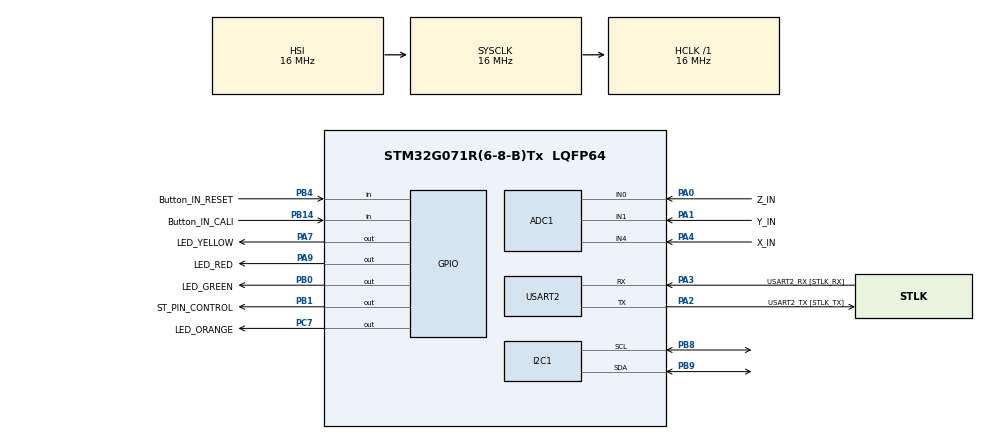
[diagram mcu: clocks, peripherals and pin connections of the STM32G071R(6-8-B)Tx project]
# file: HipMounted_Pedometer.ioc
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ADC1.Channel-0\#ChannelRegularConversion=ADC_CHANNEL_4
ADC1.Channel-1\#ChannelRegularConversion=ADC_CHANNEL_1
ADC1.Channel-2\#ChannelRegularConversion=ADC_CHANNEL_0
ADC1.EOCSelection=ADC_EOC_SEQ_CONV
ADC1.NbrOfConversion=3
ADC1.NbrOfConversionFlag=1
ADC1.Rank-0\#ChannelRegularConversion=1
ADC1.Rank-1\#ChannelRegularConversion=2
ADC1.Rank-2\#ChannelRegularConversion=3
ADC1.SamplingTime-0\#ChannelRegularConversion=ADC_SAMPLINGTIME_COMMON_1
ADC1.SamplingTime-1\#ChannelRegularConversion=ADC_SAMPLINGTIME_COMMON_1
ADC1.SamplingTime-2\#ChannelRegularConversion=ADC_SAMPLINGTIME_COMMON_1
ADC1.SelectedChannel=ADC_CHANNEL_0|ADC_CHANNEL_1|ADC_CHANNEL_4
ADC1.master=1
Dma.ADC1.0.Direction=DMA_PERIPH_TO_MEMORY
Dma.ADC1.0.EventEnable=DISABLE
Dma.ADC1.0.Instance=DMA1_Channel1
Dma.ADC1.0.MemDataAlignment=DMA_MDATAALIGN_HALFWORD
Dma.ADC1.0.MemInc=DMA_MINC_ENABLE
Dma.ADC1.0.Mode=DMA_NORMAL
Dma.ADC1.0.PeriphDataAlignment=DMA_PDATAALIGN_HALFWORD
Dma.ADC1.0.PeriphInc=DMA_PINC_DISABLE
Dma.ADC1.0.Polarity=HAL_DMAMUX_REQ_GEN_RISING
Dma.ADC1.0.Priority=DMA_PRIORITY_LOW
Dma.ADC1.0.RequestNumber=1
Dma.ADC1.0.SignalID=NONE
Dma.ADC1.0.SyncEnable=DISABLE
Dma.ADC1.0.SyncPolarity=HAL_DMAMUX_SYNC_NO_EVENT
Dma.ADC1.0.SyncRequestNumber=1
Dma.ADC1.0.SyncSignalID=NONE
Dma.Request0=ADC1
I2C1.Timing=0x00503D58
Mcu.Family=STM32G0
Mcu.Name=STM32G071R(6-8-B)Tx
Mcu.Package=LQFP64
NVIC.DMA1_Channel1_IRQn=true\:0\:0\:false\:false\:true\:false\:true\:true
PA0.GPIO_Label=Z_IN
PA0.Mode=IN0
PA0.Signal=ADC1_IN0
PA1.GPIO_Label=Y_IN
PA1.Mode=IN1
PA1.Signal=ADC1_IN1
PA13.GPIO_Label=TMS
PA13.Mode=Serial_Wire
PA13.Signal=SYS_SWDIO
PA14-BOOT0.GPIO_Label=TCK
PA14-BOOT0.Mode=Serial_Wire
PA14-BOOT0.Signal=SYS_SWCLK
PA2.GPIO_Label=USART2_TX [STLK_TX]
PA2.GPIO_PuPd=GPIO_PULLUP
PA2.Mode=Asynchronous
PA2.Signal=USART2_TX
PA3.GPIO_Label=USART2_RX [STLK_RX]
PA3.GPIO_PuPd=GPIO_PULLUP
PA3.Mode=Asynchronous
PA3.Signal=USART2_RX
PA4.GPIO_Label=X_IN
PA4.Mode=IN4
PA4.Signal=ADC1_IN4
PA7.GPIO_Label=LED_YELLOW
PA7.Signal=GPIO_Output
PA9.GPIO_Label=LED_RED
PA9.Signal=GPIO_Output
PB0.GPIO_Label=LED_GREEN
PB0.Signal=GPIO_Output
PB1.GPIO_Label=ST_PIN_CONTROL
PB1.Signal=GPIO_Output
PB14.GPIO_Label=Button_IN_CALI
PB14.GPIO_PuPd=GPIO_PULLUP
PB14.Signal=GPIO_Input
PB4.GPIO_Label=Button_IN_RESET
PB4.GPIO_PuPd=GPIO_PULLUP
PB4.Signal=GPIO_Input
PB8.Mode=I2C
PB8.Signal=I2C1_SCL
PB9.Mode=I2C
PB9.Signal=I2C1_SDA
PC13.Mode=SYS_WakeUp1
PC13.Signal=SYS_WKUP2
PC14-OSC32_IN\ (PC14).Mode=LSE-External-Oscillator
PC14-OSC32_IN\ (PC14).Signal=RCC_OSC32_IN
PC15-OSC32_OUT\ (PC15).Mode=LSE-External-Oscillator
PC15-OSC32_OUT\ (PC15).Signal=RCC_OSC32_OUT
PC7.GPIO_Label=LED_ORANGE
PC7.Signal=GPIO_Output
PF0-OSC_IN\ (PF0).GPIO_Label=MCO
PF0-OSC_IN\ (PF0).Mode=HSE-External-Clock-Source
PF0-OSC_IN\ (PF0).Signal=RCC_OSC_IN
ProjectManager.HeapSize=0x200
ProjectManager.StackSize=0x400
ProjectManager.TargetToolchain=STM32CubeIDE
RCC.AHBFreq_Value=16000000
RCC.CortexFreq_Value=16000000
RCC.EXTERNAL_CLOCK_VALUE=12288000
RCC.HCLKFreq_Value=16000000
RCC.HSE_VALUE=8000000
RCC.HSI_VALUE=16000000
RCC.SYSCLKFreq_VALUE=16000000
RCC.VCOOutputFreq_Value=128000000
USART2.VirtualMode-Asynchronous=VM_ASYNC
board=NUCLEO-G071RB

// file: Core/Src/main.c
/* USER CODE BEGIN Header */
/**
  ******************************************************************************
  * @file           : main.c
  * @brief          : Main program body
  ******************************************************************************
  * @attention
  *
  * Copyright (c) 2026 STMicroelectronics.
  * All rights reserved.
  *
  * This software is licensed under terms that can be found in the LICENSE file
  * in the root directory of this software component.
  * If no LICENSE file comes with this software, it is provided AS-IS.
  *
  ******************************************************************************
  */
/* USER CODE END Header */
#include "main.h"

/* USER CODE BEGIN Includes */
#include <test_components.h>
#include "main.h"
#include "step_counting.h"
#include <inttypes.h>

/* USER CODE END Includes */

ADC_HandleTypeDef hadc1;
DMA_HandleTypeDef hdma_adc1;

I2C_HandleTypeDef hi2c1;

UART_HandleTypeDef huart2;

/* USER CODE BEGIN PV */
uint16_t ADC_VAL[3] = {0,0,0}; // Store raw X, Y and Z values in a array
float adjVal[2][3] = { // Stores the calibration values
		{-0.04, -0.06, -0.12},
		{0, 0, 0}
};

volatile ADXL335_t RAW_SAMPLE = {0};
ADXL335_t CALIB_SAMPLE = {0};
ADXL335_t SAMPLE_BUFFER[NUM_SAMPLES] = {0};

volatile uint32_t stepCount = 0; // Stores the count of steps
volatile uint32_t indexVal = 0;
volatile uint32_t lastValuesTime = 0;
/* USER CODE END PV */

void SystemClock_Config(void);
static void MX_GPIO_Init(void);
static void MX_DMA_Init(void);
static void MX_USART2_UART_Init(void);
static void MX_ADC1_Init(void);
static void MX_I2C1_Init(void);

int main(void)
{

  /* MCU Configuration--------------------------------------------------------*/

  /* Reset of all peripherals, Initializes the Flash interface and the Systick. */
  HAL_Init();

  /* Configure the system clock */
  SystemClock_Config();

  /* Initialize all configured peripherals */
  MX_GPIO_Init();
  MX_DMA_Init();
  MX_USART2_UART_Init();
  MX_ADC1_Init();
  MX_I2C1_Init();
  /* USER CODE BEGIN 2 */
  ssd1306_Init();
  HAL_ADCEx_Calibration_Start(&hadc1);
  ST_Protocol(); // Checks if ADXL is working properly
  DEFAULT_DISPLAY();
  HAL_GPIO_WritePin(LED_GREEN_GPIO_Port, LED_GREEN_Pin, SET); // Stationary LED
  /* USER CODE END 2 */

  /* Infinite loop */
  /* USER CODE BEGIN WHILE */
  while (1)
  {

	  /* Real Software */
	  DEFAULT_DISPLAY();
	  if (HAL_GetTick()- lastValuesTime >= 58) {
	  	  lastValuesTime = HAL_GetTick();
	  	  getValues(); // Gets the x,y and z values
	  }
	  trackGaitPhase(); // Count steps
	  walkingPace(); // Determines Walking pace

	  if (HAL_GPIO_ReadPin(Button_IN_CALI_GPIO_Port, Button_IN_CALI_Pin)==GPIO_PIN_RESET) {// Calibrates direction when button is pressed
	  	  calibration();
	  }

	  if (HAL_GPIO_ReadPin(Button_IN_RESET_GPIO_Port, Button_IN_RESET_Pin) == GPIO_PIN_RESET) {// Resets Counter when reset button is pressed
		  stepCount = 0;
		  distanceTravelled = 0;
	  }

	  // Calculates the distance travelled

    /* USER CODE END WHILE */

  }
}

void SystemClock_Config(void)
{
  RCC_OscInitTypeDef RCC_OscInitStruct = {0};
  RCC_ClkInitTypeDef RCC_ClkInitStruct = {0};

  /** Configure the main internal regulator output voltage
  */
  HAL_PWREx_ControlVoltageScaling(PWR_REGULATOR_VOLTAGE_SCALE1);

  /** Initializes the RCC Oscillators according to the specified parameters
  * in the RCC_OscInitTypeDef structure.
  */
  RCC_OscInitStruct.OscillatorType = RCC_OSCILLATORTYPE_HSI;
  RCC_OscInitStruct.HSIState = RCC_HSI_ON;
  RCC_OscInitStruct.HSIDiv = RCC_HSI_DIV1;
  RCC_OscInitStruct.HSICalibrationValue = RCC_HSICALIBRATION_DEFAULT;
  RCC_OscInitStruct.PLL.PLLState = RCC_PLL_NONE;
  if (HAL_RCC_OscConfig(&RCC_OscInitStruct) != HAL_OK)
  {
    Error_Handler();
  }

  /** Initializes the CPU, AHB and APB buses clocks
  */
  RCC_ClkInitStruct.ClockType = RCC_CLOCKTYPE_HCLK|RCC_CLOCKTYPE_SYSCLK
                              |RCC_CLOCKTYPE_PCLK1;
  RCC_ClkInitStruct.SYSCLKSource = RCC_SYSCLKSOURCE_HSI;
  RCC_ClkInitStruct.AHBCLKDivider = RCC_SYSCLK_DIV1;
  RCC_ClkInitStruct.APB1CLKDivider = RCC_HCLK_DIV1;

  if (HAL_RCC_ClockConfig(&RCC_ClkInitStruct, FLASH_LATENCY_0) != HAL_OK)
  {
    Error_Handler();
  }
}

static void MX_ADC1_Init(void)
{

  ADC_ChannelConfTypeDef sConfig = {0};

  /** Configure the global features of the ADC (Clock, Resolution, Data Alignment and number of conversion)
  */
  hadc1.Instance = ADC1;
  hadc1.Init.ClockPrescaler = ADC_CLOCK_SYNC_PCLK_DIV2;
  hadc1.Init.Resolution = ADC_RESOLUTION_12B;
  hadc1.Init.DataAlign = ADC_DATAALIGN_RIGHT;
  hadc1.Init.ScanConvMode = ADC_SCAN_ENABLE;
  hadc1.Init.EOCSelection = ADC_EOC_SEQ_CONV;
  hadc1.Init.LowPowerAutoWait = DISABLE;
  hadc1.Init.LowPowerAutoPowerOff = DISABLE;
  hadc1.Init.ContinuousConvMode = DISABLE;
  hadc1.Init.NbrOfConversion = 3;
  hadc1.Init.DiscontinuousConvMode = DISABLE;
  hadc1.Init.ExternalTrigConv = ADC_SOFTWARE_START;
  hadc1.Init.ExternalTrigConvEdge = ADC_EXTERNALTRIGCONVEDGE_NONE;
  hadc1.Init.DMAContinuousRequests = DISABLE;
  hadc1.Init.Overrun = ADC_OVR_DATA_PRESERVED;
  hadc1.Init.SamplingTimeCommon1 = ADC_SAMPLETIME_1CYCLE_5;
  hadc1.Init.SamplingTimeCommon2 = ADC_SAMPLETIME_1CYCLE_5;
  hadc1.Init.OversamplingMode = DISABLE;
  hadc1.Init.TriggerFrequencyMode = ADC_TRIGGER_FREQ_HIGH;
  if (HAL_ADC_Init(&hadc1) != HAL_OK)
  {
    Error_Handler();
  }

  /** Configure Regular Channel
  */
  sConfig.Channel = ADC_CHANNEL_4;
  sConfig.Rank = ADC_REGULAR_RANK_1;
  sConfig.SamplingTime = ADC_SAMPLINGTIME_COMMON_1;
  if (HAL_ADC_ConfigChannel(&hadc1, &sConfig) != HAL_OK)
  {
    Error_Handler();
  }

  /** Configure Regular Channel
  */
  sConfig.Channel = ADC_CHANNEL_1;
  sConfig.Rank = ADC_REGULAR_RANK_2;
  if (HAL_ADC_ConfigChannel(&hadc1, &sConfig) != HAL_OK)
  {
    Error_Handler();
  }

  /** Configure Regular Channel
  */
  sConfig.Channel = ADC_CHANNEL_0;
  sConfig.Rank = ADC_REGULAR_RANK_3;
  if (HAL_ADC_ConfigChannel(&hadc1, &sConfig) != HAL_OK)
  {
    Error_Handler();
  }

}

static void MX_I2C1_Init(void)
{

  hi2c1.Instance = I2C1;
  hi2c1.Init.Timing = 0x00503D58;
  hi2c1.Init.OwnAddress1 = 0;
  hi2c1.Init.AddressingMode = I2C_ADDRESSINGMODE_7BIT;
  hi2c1.Init.DualAddressMode = I2C_DUALADDRESS_DISABLE;
  hi2c1.Init.OwnAddress2 = 0;
  hi2c1.Init.OwnAddress2Masks = I2C_OA2_NOMASK;
  hi2c1.Init.GeneralCallMode = I2C_GENERALCALL_DISABLE;
  hi2c1.Init.NoStretchMode = I2C_NOSTRETCH_DISABLE;
  if (HAL_I2C_Init(&hi2c1) != HAL_OK)
  {
    Error_Handler();
  }

  /** Configure Analogue filter
  */
  if (HAL_I2CEx_ConfigAnalogFilter(&hi2c1, I2C_ANALOGFILTER_ENABLE) != HAL_OK)
  {
    Error_Handler();
  }

  /** Configure Digital filter
  */
  if (HAL_I2CEx_ConfigDigitalFilter(&hi2c1, 0) != HAL_OK)
  {
    Error_Handler();
  }

}

static void MX_USART2_UART_Init(void)
{

  huart2.Instance = USART2;
  huart2.Init.BaudRate = 115200;
  huart2.Init.WordLength = UART_WORDLENGTH_8B;
  huart2.Init.StopBits = UART_STOPBITS_1;
  huart2.Init.Parity = UART_PARITY_NONE;
  huart2.Init.Mode = UART_MODE_TX_RX;
  huart2.Init.HwFlowCtl = UART_HWCONTROL_NONE;
  huart2.Init.OverSampling = UART_OVERSAMPLING_16;
  huart2.Init.OneBitSampling = UART_ONE_BIT_SAMPLE_DISABLE;
  huart2.Init.ClockPrescaler = UART_PRESCALER_DIV1;
  huart2.AdvancedInit.AdvFeatureInit = UART_ADVFEATURE_NO_INIT;
  if (HAL_UART_Init(&huart2) != HAL_OK)
  {
    Error_Handler();
  }
  if (HAL_UARTEx_SetTxFifoThreshold(&huart2, UART_TXFIFO_THRESHOLD_1_8) != HAL_OK)
  {
    Error_Handler();
  }
  if (HAL_UARTEx_SetRxFifoThreshold(&huart2, UART_RXFIFO_THRESHOLD_1_8) != HAL_OK)
  {
    Error_Handler();
  }
  if (HAL_UARTEx_DisableFifoMode(&huart2) != HAL_OK)
  {
    Error_Handler();
  }

}

static void MX_DMA_Init(void)
{

  /* DMA controller clock enable */
  __HAL_RCC_DMA1_CLK_ENABLE();

  /* DMA interrupt init */
  /* DMA1_Channel1_IRQn interrupt configuration */
  HAL_NVIC_SetPriority(DMA1_Channel1_IRQn, 0, 0);
  HAL_NVIC_EnableIRQ(DMA1_Channel1_IRQn);

}

static void MX_GPIO_Init(void)
{
  GPIO_InitTypeDef GPIO_InitStruct = {0};

  /* GPIO Ports Clock Enable */
  __HAL_RCC_GPIOC_CLK_ENABLE();
  __HAL_RCC_GPIOF_CLK_ENABLE();
  __HAL_RCC_GPIOA_CLK_ENABLE();
  __HAL_RCC_GPIOB_CLK_ENABLE();

  /*Configure GPIO pin Output Level */
  HAL_GPIO_WritePin(GPIOA, LED_YELLOW_Pin|LED_RED_Pin, GPIO_PIN_RESET);

  /*Configure GPIO pin Output Level */
  HAL_GPIO_WritePin(GPIOB, LED_GREEN_Pin|ST_PIN_CONTROL_Pin, GPIO_PIN_RESET);

  /*Configure GPIO pin Output Level */
  HAL_GPIO_WritePin(LED_ORANGE_GPIO_Port, LED_ORANGE_Pin, GPIO_PIN_RESET);

  /*Configure GPIO pins : LED_YELLOW_Pin LED_RED_Pin */
  GPIO_InitStruct.Pin = LED_YELLOW_Pin|LED_RED_Pin;
  GPIO_InitStruct.Mode = GPIO_MODE_OUTPUT_PP;
  GPIO_InitStruct.Pull = GPIO_NOPULL;
  GPIO_InitStruct.Speed = GPIO_SPEED_FREQ_LOW;
  HAL_GPIO_Init(GPIOA, &GPIO_InitStruct);

  /*Configure GPIO pins : LED_GREEN_Pin ST_PIN_CONTROL_Pin */
  GPIO_InitStruct.Pin = LED_GREEN_Pin|ST_PIN_CONTROL_Pin;
  GPIO_InitStruct.Mode = GPIO_MODE_OUTPUT_PP;
  GPIO_InitStruct.Pull = GPIO_NOPULL;
  GPIO_InitStruct.Speed = GPIO_SPEED_FREQ_LOW;
  HAL_GPIO_Init(GPIOB, &GPIO_InitStruct);

  /*Configure GPIO pins : Button_IN_CALI_Pin Button_IN_RESET_Pin */
  GPIO_InitStruct.Pin = Button_IN_CALI_Pin|Button_IN_RESET_Pin;
  GPIO_InitStruct.Mode = GPIO_MODE_INPUT;
  GPIO_InitStruct.Pull = GPIO_PULLUP;
  HAL_GPIO_Init(GPIOB, &GPIO_InitStruct);

  /*Configure GPIO pin : LED_ORANGE_Pin */
  GPIO_InitStruct.Pin = LED_ORANGE_Pin;
  GPIO_InitStruct.Mode = GPIO_MODE_OUTPUT_PP;
  GPIO_InitStruct.Pull = GPIO_NOPULL;
  GPIO_InitStruct.Speed = GPIO_SPEED_FREQ_LOW;
  HAL_GPIO_Init(LED_ORANGE_GPIO_Port, &GPIO_InitStruct);

}

void Error_Handler(void)
{
  __disable_irq();
  while (1)
  {
  }
}
